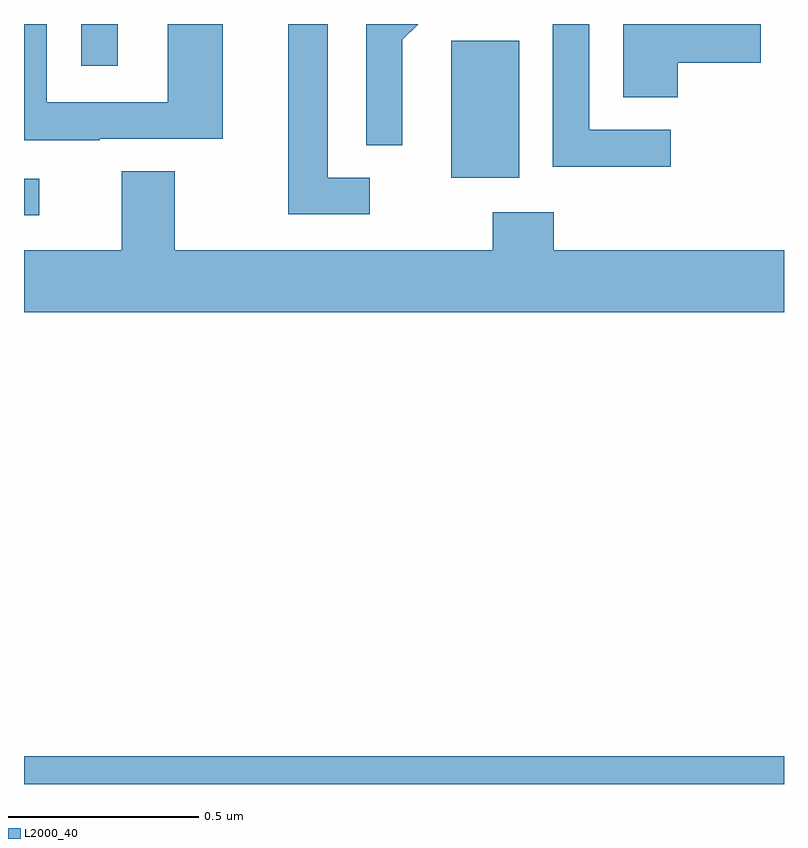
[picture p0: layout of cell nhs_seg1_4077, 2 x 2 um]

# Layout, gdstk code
import gdstk
lib = gdstk.Library(unit=1e-6, precision=1e-09)
def R(c, l, rs):  # rectangles x0, y0, x1, y1
    for r in rs: c.add(gdstk.rectangle(r[:2], r[2:], *l))
def P(c, l, *ps):  # polygons
    for p in ps: c.add(gdstk.Polygon(p, *l))
L2000_40 = (2000, 40)

nhs_seg1_4077 = lib.new_cell('nhs_seg1_4077')
R(nhs_seg1_4077, L2000_40, [(162,509.199,164,509.272), (162,510.696,162.04,510.792), (163.124,510.794,163.303,511.155), (162.15,511.089,162.247,511.199)])
P(nhs_seg1_4077, L2000_40, [(162.91,510.795),(162.799,510.795),(162.799,511.199),(162.695,511.199),(162.695,510.699),(162.91,510.699)],
  [(162.996,511.034),(162.995,511.034),(162.995,511.157),(163.037,511.199),(162.901,511.199),(162.9,511.198),(162.9,510.88),(162.996,510.88)],
  [(163.702,510.921),(163.488,510.921),(163.488,511.199),(163.392,511.199),(163.392,510.823),(163.702,510.823)],
  [(162.199,510.897),(162.523,510.897),(162.523,511.199),(162.378,511.199),(162.378,510.993),(162.06,510.993),(162.06,511.199),(162,511.199),(162,510.893),(162.199,510.893)],
  [(163.721,511.097),(163.939,511.097),(163.939,511.199),(163.577,511.199),(163.577,511.006),(163.721,511.006)],
  [(164,510.604),(163.394,510.604),(163.394,510.703),(163.234,510.703),(163.234,510.604),(162.397,510.604),(162.397,510.812),(162.257,510.812),(162.257,510.604),(162,510.604),(162,510.44),(164,510.44)])

lib.write_gds('nhs_seg1_4077.gds')
